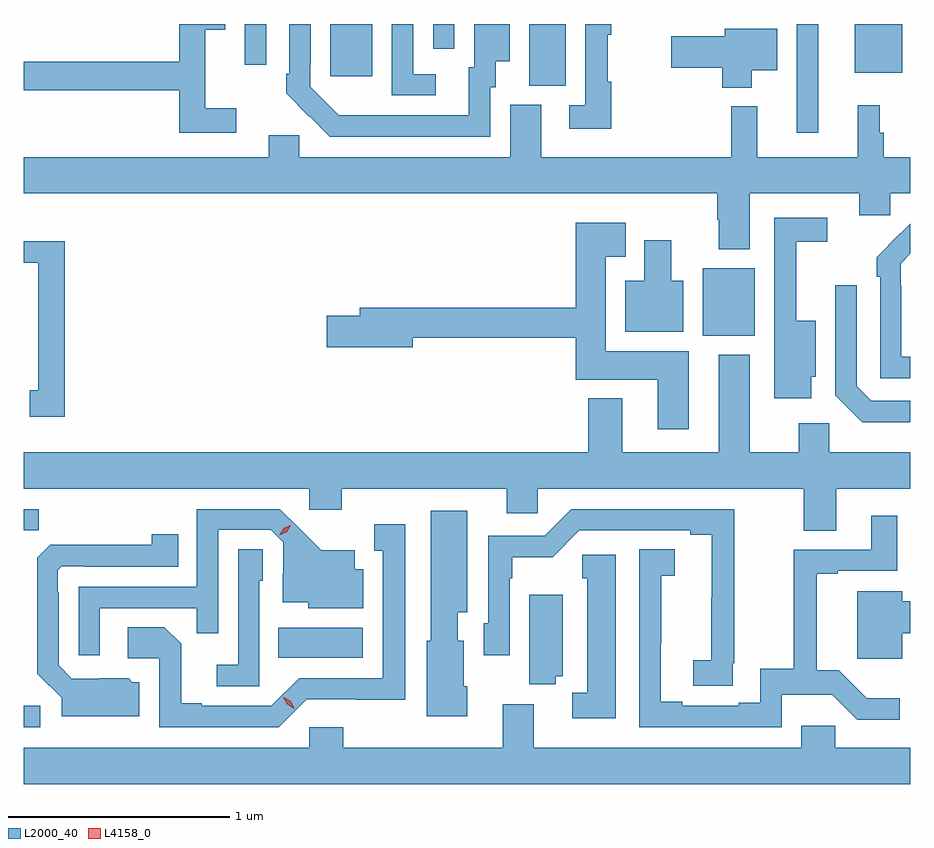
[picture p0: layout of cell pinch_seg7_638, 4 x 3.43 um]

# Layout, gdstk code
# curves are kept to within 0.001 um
import gdstk
lib = gdstk.Library(unit=1e-6, precision=1e-09)
def R(c, l, rs):  # rectangles x0, y0, x1, y1
    for r in rs: c.add(gdstk.rectangle(r[:2], r[2:], *l))
def P(c, l, *ps):  # polygons
    for p in ps: c.add(gdstk.Polygon(p, *l))
L2000_40 = (2000, 40)
L4158_0 = (4158, 0)

pinch_seg7_638 = lib.new_cell('pinch_seg7_638')
R(pinch_seg7_638, L2000_40, [(167.299,1006.2,167.374,1006.296), (168.448,1006.514,168.829,1006.648), (167.299,1007.089,167.367,1007.184), (170.363,1007.966,170.596,1008.271), (170.787,1008.882,170.884,1009.372), (169.58,1009.093,169.744,1009.372), (168.683,1009.137,168.871,1009.372), (171.047,1009.151,171.262,1009.372), (168.297,1009.188,168.393,1009.372), (169.146,1009.26,169.242,1009.372)])
P(pinch_seg7_638, L2000_40, [(169.404,1009.086),(169.429,1009.086),(169.429,1009.205),(169.492,1009.205),(169.492,1009.372),(169.331,1009.372),(169.331,1009.176),(169.307,1009.176),(169.307,1008.96),(168.72,1008.961),(168.591,1009.089),(168.591,1009.189),(168.594,1009.189),(168.594,1009.372),(168.498,1009.372),(168.498,1009.147),(168.483,1009.147),(168.483,1009.059),(168.68,1008.864),(169.404,1008.864)],
  [(169.159,1009.146),(169.056,1009.146),(169.056,1009.372),(168.96,1009.372),(168.96,1009.05),(169.159,1009.05)],
  [(169.949,1009.112),(169.934,1009.112),(169.934,1009.323),(169.949,1009.323),(169.949,1009.372),(169.833,1009.372),(169.833,1009.005),(169.761,1009.005),(169.761,1008.9),(169.949,1008.9)],
  [(168.259,1008.991),(168.119,1008.991),(168.119,1009.346),(168.208,1009.346),(168.208,1009.372),(168.001,1009.372),(168.001,1009.202),(167.299,1009.202),(167.299,1009.074),(168.001,1009.074),(168.001,1008.882),(168.259,1008.882)],
  [(170.584,1009.163),(170.698,1009.163),(170.698,1009.351),(170.462,1009.351),(170.462,1009.316),(170.22,1009.316),(170.22,1009.174),(170.45,1009.174),(170.45,1009.085),(170.584,1009.085)],
  [(169.493,1009.008),(169.493,1008.772),(168.543,1008.772),(168.543,1008.87),(168.404,1008.87),(168.404,1008.772),(167.299,1008.772),(167.299,1008.608),(170.428,1008.608),(170.428,1008.488),(170.435,1008.488),(170.435,1008.356),(170.575,1008.356),(170.575,1008.608),(171.068,1008.608),(171.068,1008.51),(171.207,1008.51),(171.207,1008.608),(171.299,1008.608),(171.299,1008.772),(171.179,1008.772),(171.179,1008.881),(171.161,1008.881),(171.161,1009.006),(171.062,1009.006),(171.062,1008.772),(170.609,1008.772),(170.609,1009),(170.491,1009),(170.491,1008.772),(169.633,1008.772),(169.633,1009.008)],
  [(170.851,1007.781),(170.872,1007.781),(170.872,1008.034),(170.783,1008.034),(170.783,1008.39),(170.923,1008.39),(170.923,1008.498),(170.685,1008.498),(170.685,1007.684),(170.851,1007.684)],
  [(170.299,1007.896),(169.924,1007.896),(169.924,1008.323),(170.014,1008.323),(170.014,1008.475),(169.79,1008.475),(169.79,1008.092),(168.815,1008.092),(168.815,1008.056),(168.666,1008.056),(168.666,1007.914),(169.054,1007.914),(169.054,1007.956),(169.79,1007.956),(169.79,1007.768),(170.159,1007.768),(170.159,1007.544),(170.299,1007.544)],
  [(171.299,1007.871),(171.258,1007.871),(171.258,1008.191),(171.255,1008.191),(171.255,1008.291),(171.299,1008.335),(171.299,1008.471),(171.147,1008.321),(171.147,1008.233),(171.162,1008.233),(171.162,1007.775),(171.299,1007.775)],
  [(170.275,1008.214),(170.221,1008.214),(170.221,1008.397),(170.099,1008.397),(170.099,1008.214),(170.012,1008.214),(170.012,1007.984),(170.275,1007.984)],
  [(167.485,1008.392),(167.299,1008.392),(167.299,1008.294),(167.366,1008.294),(167.366,1007.721),(167.327,1007.721),(167.327,1007.601),(167.485,1007.601)],
  [(171.299,1007.673),(171.123,1007.673),(171.057,1007.739),(171.057,1008.193),(170.961,1008.193),(170.961,1007.697),(171.082,1007.576),(171.299,1007.576)],
  [(170.965,1007.276),(171.299,1007.276),(171.299,1007.44),(170.934,1007.44),(170.934,1007.572),(170.795,1007.572),(170.795,1007.44),(170.575,1007.44),(170.575,1007.881),(170.435,1007.881),(170.435,1007.44),(169.999,1007.44),(169.999,1007.683),(169.847,1007.683),(169.847,1007.44),(167.299,1007.44),(167.299,1007.276),(168.588,1007.276),(168.588,1007.181),(168.735,1007.181),(168.735,1007.276),(169.478,1007.276),(169.478,1007.166),(169.617,1007.166),(169.617,1007.276),(170.818,1007.276),(170.818,1007.086),(170.965,1007.086)],
  [(170.498,1006.489),(170.504,1006.489),(170.504,1007.184),(169.77,1007.184),(169.65,1007.064),(169.395,1007.064),(169.395,1006.668),(169.374,1006.668),(169.374,1006.524),(169.491,1006.524),(169.491,1006.871),(169.504,1006.871),(169.504,1006.967),(169.685,1006.967),(169.806,1007.088),(170.306,1007.088),(170.306,1007.068),(170.402,1007.068),(170.401,1006.502),(170.319,1006.502),(170.319,1006.387),(170.498,1006.387)],
  [(167.643,1006.737),(168.079,1006.737),(168.079,1006.624),(168.177,1006.624),(168.177,1007.091),(168.414,1007.091),(168.471,1007.034),(168.471,1006.892),(168.467,1006.892),(168.467,1006.763),(168.582,1006.763),(168.582,1006.736),(168.832,1006.736),(168.832,1006.912),(168.793,1006.912),(168.793,1006.999),(168.641,1006.999),(168.454,1007.184),(168.081,1007.184),(168.081,1006.833),(167.547,1006.833),(167.547,1006.524),(167.643,1006.524)],
  [(169.3,1006.386),(169.284,1006.386),(169.284,1006.59),(169.258,1006.59),(169.258,1006.718),(169.3,1006.718),(169.3,1007.176),(169.136,1007.176),(169.136,1006.59),(169.118,1006.59),(169.118,1006.25),(169.3,1006.25)],
  [(170.718,1006.346),(170.947,1006.346),(171.06,1006.233),(171.25,1006.233),(171.25,1006.33),(171.101,1006.33),(170.975,1006.456),(170.876,1006.456),(170.876,1006.893),(170.971,1006.893),(170.971,1006.905),(171.239,1006.905),(171.239,1007.155),(171.122,1007.155),(171.122,1007.001),(170.773,1007.001),(170.773,1006.463),(170.622,1006.463),(170.622,1006.31),(170.525,1006.31),(170.525,1006.296),(170.269,1006.296),(170.269,1006.316),(170.173,1006.316),(170.173,1006.579),(170.175,1006.579),(170.175,1006.883),(170.236,1006.883),(170.236,1007.003),(170.076,1007.003),(170.076,1006.2),(170.718,1006.2)],
  [(168.576,1006.326),(169.021,1006.325),(169.021,1007.116),(168.881,1007.116),(168.881,1006.995),(168.92,1006.995),(168.92,1006.422),(168.543,1006.422),(168.417,1006.296),(168.103,1006.296),(168.103,1006.309),(168.009,1006.309),(168.009,1006.576),(167.933,1006.652),(167.769,1006.652),(167.769,1006.512),(167.91,1006.512),(167.91,1006.2),(168.45,1006.2)],
  [(167.821,1006.404),(167.79,1006.404),(167.774,1006.42),(167.517,1006.419),(167.457,1006.479),(167.457,1006.808),(167.454,1006.808),(167.454,1006.908),(167.472,1006.926),(167.572,1006.926),(167.572,1006.923),(167.996,1006.923),(167.996,1007.071),(167.878,1007.071),(167.878,1007.024),(167.42,1007.023),(167.361,1006.964),(167.361,1006.442),(167.471,1006.332),(167.471,1006.25),(167.821,1006.25)],
  [(168.363,1006.86),(168.378,1006.86),(168.378,1007.003),(168.267,1007.003),(168.267,1006.483),(168.171,1006.483),(168.171,1006.386),(168.363,1006.386)],
  [(169.969,1006.978),(169.819,1006.978),(169.819,1006.872),(169.841,1006.872),(169.841,1006.356),(169.773,1006.356),(169.773,1006.241),(169.969,1006.241)],
  [(171.262,1006.624),(171.299,1006.624),(171.299,1006.768),(171.262,1006.768),(171.262,1006.813),(171.059,1006.813),(171.059,1006.508),(171.262,1006.508)],
  [(169.7,1006.43),(169.732,1006.43),(169.732,1006.798),(169.58,1006.798),(169.58,1006.393),(169.7,1006.393)],
  [(171.299,1006.108),(170.959,1006.108),(170.959,1006.206),(170.807,1006.206),(170.807,1006.108),(169.6,1006.108),(169.6,1006.303),(169.46,1006.303),(169.46,1006.108),(168.74,1006.108),(168.74,1006.201),(168.588,1006.201),(168.588,1006.108),(167.299,1006.108),(167.299,1005.944),(171.299,1005.944)])
P(pinch_seg7_638, L4158_0, [(168.454,1007.067),(168.454,1007.068),(168.472,1007.097),(168.502,1007.112),(168.503,1007.112),(168.503,1007.112),(168.485,1007.082),(168.454,1007.067)],
  [(168.519,1006.284),(168.488,1006.304),(168.471,1006.336),(168.471,1006.336),(168.472,1006.336),(168.503,1006.317),(168.52,1006.285),(168.52,1006.284)])

lib.write_gds('pinch_seg7_638.gds')
